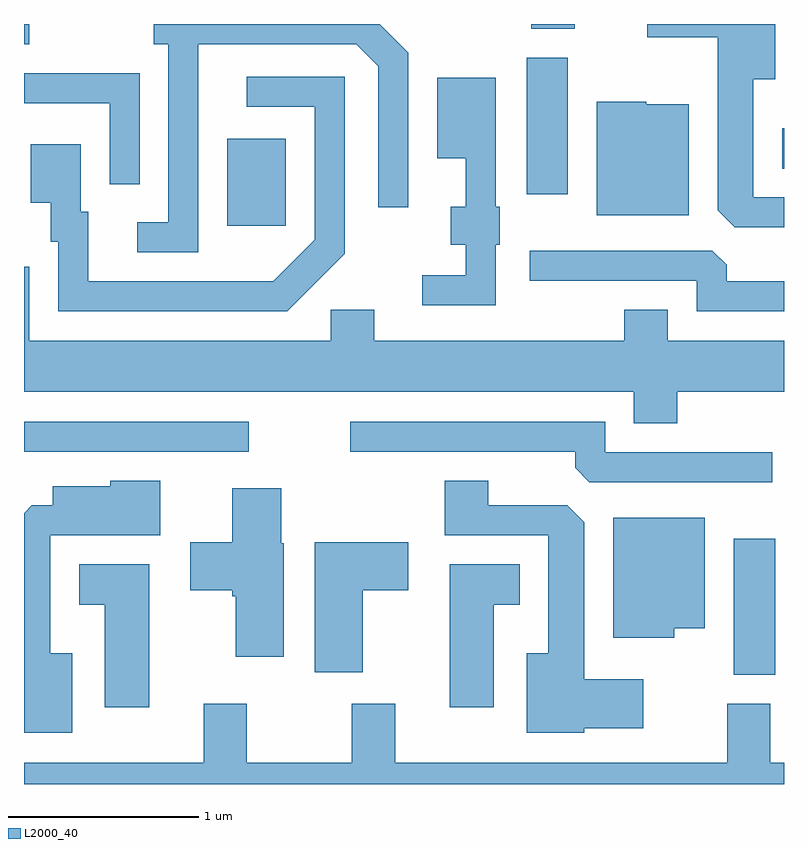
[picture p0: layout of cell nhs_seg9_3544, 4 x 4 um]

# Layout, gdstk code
import gdstk
lib = gdstk.Library(unit=1e-6, precision=1e-09)
def R(c, l, rs):  # rectangles x0, y0, x1, y1
    for r in rs: c.add(gdstk.rectangle(r[:2], r[2:], *l))
def P(c, l, *ps):  # polygons
    for p in ps: c.add(gdstk.Polygon(p, *l))
L2000_40 = (2000, 40)

nhs_seg9_3544 = lib.new_cell('nhs_seg9_3544')
R(nhs_seg9_3544, L2000_40, [(293.346,1977.006,293.564,1977.724), (289.611,1978.181,290.793,1978.339), (290.681,1979.371,290.989,1979.829), (292.256,1979.536,292.474,1980.254), (293.601,1979.671,293.611,1979.884), (289.611,1980.326,289.639,1980.432), (292.281,1980.406,292.509,1980.432)])
P(nhs_seg9_3544, L2000_40, [(290.529,1980.326),(291.359,1980.326),(291.476,1980.209),(291.476,1979.468),(291.634,1979.468),(291.634,1980.282),(291.484,1980.432),(290.293,1980.432),(290.293,1980.326),(290.371,1980.326),(290.371,1979.389),(290.208,1979.389),(290.208,1979.231),(290.529,1979.231)],
  [(293.611,1979.519),(293.449,1979.519),(293.449,1980.141),(293.564,1980.141),(293.564,1980.432),(292.891,1980.432),(292.891,1980.361),(293.261,1980.361),(293.261,1979.452),(293.352,1979.361),(293.611,1979.361)],
  [(290.219,1980.174),(289.611,1980.174),(289.611,1980.016),(290.061,1980.016),(290.061,1979.588),(290.219,1979.588)],
  [(291.299,1979.224),(291.299,1980.154),(290.783,1980.154),(290.783,1979.996),(291.141,1979.996),(291.141,1979.297),(290.924,1979.079),(289.949,1979.079),(289.949,1979.444),(289.909,1979.444),(289.909,1979.799),(289.646,1979.799),(289.646,1979.491),(289.751,1979.491),(289.751,1979.286),(289.791,1979.286),(289.791,1978.921),(290.997,1978.921)],
  [(292.094,1979.271),(292.114,1979.271),(292.114,1979.469),(292.094,1979.469),(292.094,1980.149),(291.786,1980.149),(291.786,1979.726),(291.936,1979.726),(291.936,1979.469),(291.856,1979.469),(291.856,1979.271),(291.936,1979.271),(291.936,1979.109),(291.708,1979.109),(291.708,1978.951),(292.094,1978.951)],
  [(293.109,1980.009),(292.885,1980.009),(292.885,1980.024),(292.626,1980.024),(292.626,1979.426),(293.109,1979.426)],
  [(293.611,1979.079),(293.309,1979.079),(293.309,1979.164),(293.234,1979.239),(292.273,1979.239),(292.273,1979.081),(293.151,1979.081),(293.151,1978.921),(293.611,1978.921)],
  [(293.049,1978.496),(293.611,1978.496),(293.611,1978.764),(292.999,1978.764),(292.999,1978.929),(292.771,1978.929),(292.771,1978.764),(291.454,1978.764),(291.454,1978.929),(291.226,1978.929),(291.226,1978.764),(289.639,1978.764),(289.639,1979.154),(289.611,1979.154),(289.611,1978.496),(292.821,1978.496),(292.821,1978.331),(293.049,1978.331)],
  [(293.548,1978.179),(292.669,1978.179),(292.669,1978.339),(291.328,1978.339),(291.328,1978.181),(292.511,1978.181),(292.511,1978.097),(292.587,1978.021),(293.548,1978.021)],
  [(292.559,1976.726),(292.869,1976.726),(292.869,1976.984),(292.559,1976.984),(292.559,1977.809),(292.469,1977.899),(292.054,1977.899),(292.054,1978.029),(291.826,1978.029),(291.826,1977.741),(292.371,1977.741),(292.371,1977.119),(292.256,1977.119),(292.256,1976.701),(292.559,1976.701)],
  [(289.864,1977.119),(289.749,1977.119),(289.749,1977.741),(290.329,1977.741),(290.329,1978.029),(290.066,1978.029),(290.066,1977.999),(289.761,1977.999),(289.761,1977.899),(289.652,1977.899),(289.611,1977.858),(289.611,1976.701),(289.864,1976.701)],
  [(290.979,1977.7),(290.964,1977.7),(290.964,1977.989),(290.706,1977.989),(290.706,1977.704),(290.486,1977.704),(290.486,1977.451),(290.706,1977.451),(290.706,1977.421),(290.726,1977.421),(290.726,1977.101),(290.979,1977.101)],
  [(293.034,1977.251),(293.194,1977.251),(293.194,1977.834),(292.711,1977.834),(292.711,1977.201),(293.034,1977.201)],
  [(291.394,1977.451),(291.634,1977.451),(291.634,1977.704),(291.141,1977.704),(291.141,1977.021),(291.394,1977.021)],
  [(290.269,1977.589),(289.901,1977.589),(289.901,1977.376),(290.036,1977.376),(290.036,1976.836),(290.269,1976.836)],
  [(292.084,1977.376),(292.219,1977.376),(292.219,1977.589),(291.851,1977.589),(291.851,1976.836),(292.084,1976.836)],
  [(293.611,1976.544),(293.539,1976.544),(293.539,1976.854),(293.311,1976.854),(293.311,1976.544),(291.564,1976.544),(291.564,1976.854),(291.336,1976.854),(291.336,1976.544),(290.784,1976.544),(290.784,1976.854),(290.556,1976.854),(290.556,1976.544),(289.611,1976.544),(289.611,1976.432),(293.611,1976.432)])

lib.write_gds('nhs_seg9_3544.gds')
